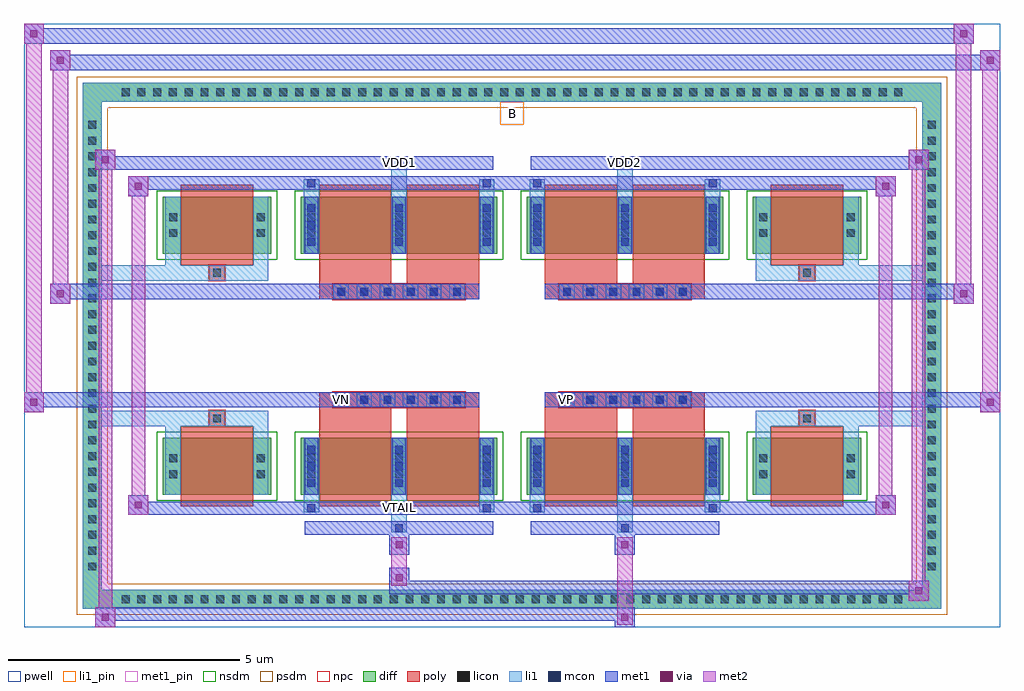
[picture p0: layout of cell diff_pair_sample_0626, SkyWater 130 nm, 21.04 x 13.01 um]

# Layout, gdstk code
import gdstk
lib = gdstk.Library(unit=1e-6, precision=5e-09)
def R(c, l, rs):  # rectangles x0, y0, x1, y1
    for r in rs: c.add(gdstk.rectangle(r[:2], r[2:], *l))
def A(c, l, x, y, w, h, nx, ny, dx, dy):  # array of equal rectangles
    R(c, l, [(x+i*dx, y+j*dy, x+i*dx+w, y+j*dy+h) for i in range(nx) for j in range(ny)])
def P(c, l, *ps):  # polygons
    for p in ps: c.add(gdstk.Polygon(p, *l))
pwell = (64, 44)
diff = (65, 20)
poly = (66, 20)
licon = (66, 44)
li1_pin = (67, 16)
li1 = (67, 20)
mcon = (67, 44)
met1_pin = (68, 16)
met1 = (68, 20)
via = (68, 44)
met2 = (69, 20)
nsdm = (93, 44)
psdm = (94, 20)
npc = (95, 20)

diff_pair_sample_0626 = lib.new_cell('diff_pair_sample_0626')
R(diff_pair_sample_0626, pwell, [(-10.52,-6.07,10.52,6.94), (-7.84,-4.26,-0.01,-0.8), (0.01,-4.26,7.84,-0.8), (-7.84,0.8,-0.01,4.26), (0.01,0.8,7.84,4.26)])
A(diff_pair_sample_0626, diff, -8.535, -5.67, 0.41, 0.41, 50, 2, 0.34, 10.93)
A(diff_pair_sample_0626, diff, -9.25, -4.965, 0.41, 0.41, 1, 29, 0, 0.34)
A(diff_pair_sample_0626, diff, 8.84, -4.965, 0.41, 0.41, 1, 29, 0, 0.34)
R(diff_pair_sample_0626, diff, [(-8.535,-5.67,8.535,-5.26), (-9.25,-4.965,-8.84,4.965), (8.84,-4.965,9.25,4.965), (-7.53,-3.215,-5.19,-1.985), (-4.55,-3.215,-0.32,-1.985), (0.32,-3.215,4.55,-1.985), (5.19,-3.215,7.53,-1.985), (-7.53,1.985,-5.19,3.215), (-4.55,1.985,-0.32,3.215), (0.32,1.985,4.55,3.215), (5.19,1.985,7.53,3.215), (-8.535,5.26,8.535,5.67)])
P(diff_pair_sample_0626, diff, [(9.25,5.67),(-9.25,5.67),(-9.25,-5.26),(-8.84,-5.26),(-8.84,5.26),(8.84,5.26),(8.84,-5.26),(-8.84,-5.26),(-9.25,-5.26),(-9.25,-5.67),(9.25,-5.67)])
A(diff_pair_sample_0626, poly, -3.85, -1.33, 0.33, 0.33, 6, 2, 0.5, 2.33)
A(diff_pair_sample_0626, poly, 1.02, -1.33, 0.33, 0.33, 6, 2, 0.5, 2.33)
R(diff_pair_sample_0626, poly, [(-7.14,-3.465,-5.58,-1.735), (-4.16,-3.465,-2.6,-1.735), (-2.27,-3.465,-0.71,-1.735), (0.71,-3.465,2.27,-1.735), (2.6,-3.465,4.16,-1.735), (5.58,-3.465,7.14,-1.735), (-6.525,-1.735,-6.195,-1.405), (-6.525,-1.735,-6.195,-1.405), (-4.16,-1.735,-2.6,-1.33), (-2.27,-1.735,-0.71,-1.33), (0.71,-1.735,2.27,-1.33), (2.6,-1.735,4.16,-1.33), (6.195,-1.735,6.525,-1.405), (6.195,-1.735,6.525,-1.405), (-4.16,-1.33,-0.71,-1), (0.71,-1.33,4.16,-1), (-4.16,1,-0.71,1.33), (0.71,1,4.16,1.33), (-4.16,1.33,-2.6,1.735), (-2.27,1.33,-0.71,1.735), (0.71,1.33,2.27,1.735), (2.6,1.33,4.16,1.735), (-6.525,1.405,-6.195,1.735), (-6.525,1.405,-6.195,1.735), (6.195,1.405,6.525,1.735), (6.195,1.405,6.525,1.735), (-7.14,1.735,-5.58,3.465), (-4.16,1.735,-2.6,3.465), (-2.27,1.735,-0.71,3.465), (0.71,1.735,2.27,3.465), (2.6,1.735,4.16,3.465), (5.58,1.735,7.14,3.465)])
A(diff_pair_sample_0626, licon, -8.415, -5.55, 0.17, 0.17, 50, 2, 0.34, 10.93)
A(diff_pair_sample_0626, licon, -9.13, -4.845, 0.17, 0.17, 1, 29, 0, 0.34)
A(diff_pair_sample_0626, licon, 8.96, -4.845, 0.17, 0.17, 1, 29, 0, 0.34)
A(diff_pair_sample_0626, licon, -4.41, -2.855, 0.17, 0.17, 3, 2, 1.89, 0.34)
A(diff_pair_sample_0626, licon, 0.46, -2.855, 0.17, 0.17, 3, 2, 1.89, 0.34)
A(diff_pair_sample_0626, licon, -3.77, -1.25, 0.17, 0.17, 6, 2, 0.5, 2.33)
A(diff_pair_sample_0626, licon, 1.1, -1.25, 0.17, 0.17, 6, 2, 0.5, 2.33)
A(diff_pair_sample_0626, licon, -4.41, 2.345, 0.17, 0.17, 3, 2, 1.89, 0.34)
A(diff_pair_sample_0626, licon, 0.46, 2.345, 0.17, 0.17, 3, 2, 1.89, 0.34)
R(diff_pair_sample_0626, licon, [(-7.39,-2.855,-7.22,-2.685), (-5.5,-2.855,-5.33,-2.685), (5.33,-2.855,5.5,-2.685), (7.22,-2.855,7.39,-2.685), (-7.39,-2.515,-7.22,-2.345), (-5.5,-2.515,-5.33,-2.345), (5.33,-2.515,5.5,-2.345), (7.22,-2.515,7.39,-2.345), (-6.445,-1.655,-6.275,-1.485), (6.275,-1.655,6.445,-1.485), (-6.445,1.485,-6.275,1.655), (6.275,1.485,6.445,1.655), (-7.39,2.345,-7.22,2.515), (-5.5,2.345,-5.33,2.515), (5.33,2.345,5.5,2.515), (7.22,2.345,7.39,2.515), (-7.39,2.685,-7.22,2.855), (-5.5,2.685,-5.33,2.855), (5.33,2.685,5.5,2.855), (7.22,2.685,7.39,2.855)])
R(diff_pair_sample_0626, li1_pin, [(-0.25,4.76,0.25,5.26)])
A(diff_pair_sample_0626, li1, -8.495, -5.63, 0.33, 0.33, 50, 2, 0.34, 10.93)
A(diff_pair_sample_0626, li1, -9.21, -4.925, 0.33, 0.33, 1, 29, 0, 0.34)
A(diff_pair_sample_0626, li1, 8.88, -4.925, 0.33, 0.33, 1, 29, 0, 0.34)
A(diff_pair_sample_0626, li1, -4.49, -3.215, 0.33, 1.23, 3, 2, 1.89, 5.2)
A(diff_pair_sample_0626, li1, 0.38, -3.215, 0.33, 1.23, 3, 2, 1.89, 5.2)
A(diff_pair_sample_0626, li1, -4.41, -3.045, 0.17, 0.17, 3, 3, 1.89, 0.36)
A(diff_pair_sample_0626, li1, -4.41, -3.045, 0.17, 0.89, 3, 2, 1.89, 5.2)
A(diff_pair_sample_0626, li1, 0.46, -3.045, 0.17, 0.17, 3, 3, 1.89, 0.36)
A(diff_pair_sample_0626, li1, 0.46, -3.045, 0.17, 0.89, 3, 2, 1.89, 5.2)
A(diff_pair_sample_0626, li1, -4.49, -2.935, 0.33, 0.33, 3, 2, 1.89, 0.34)
A(diff_pair_sample_0626, li1, 0.38, -2.935, 0.33, 0.33, 3, 2, 1.89, 0.34)
A(diff_pair_sample_0626, li1, -3.85, -1.33, 0.33, 0.33, 6, 2, 0.5, 2.33)
A(diff_pair_sample_0626, li1, 1.02, -1.33, 0.33, 0.33, 6, 2, 0.5, 2.33)
A(diff_pair_sample_0626, li1, -4.41, 2.155, 0.17, 0.17, 3, 3, 1.89, 0.36)
A(diff_pair_sample_0626, li1, 0.46, 2.155, 0.17, 0.17, 3, 3, 1.89, 0.36)
A(diff_pair_sample_0626, li1, -4.49, 2.265, 0.33, 0.33, 3, 2, 1.89, 0.34)
A(diff_pair_sample_0626, li1, 0.38, 2.265, 0.33, 0.33, 3, 2, 1.89, 0.34)
R(diff_pair_sample_0626, li1, [(-9.25,-5.67,-8.84,-5.26), (-9.25,-5.67,-8.84,-5.26), (-8.84,-5.67,8.84,-5.26), (8.84,-5.67,9.25,-5.26), (8.84,-5.67,9.25,-5.26), (-9.25,-5.26,-8.84,5.26), (8.84,-5.26,9.25,5.26), (-2.6,-4.02,-2.27,-3.215), (-2.52,-4.02,-2.35,-3.85), (2.27,-4.02,2.6,-3.215), (2.35,-4.02,2.52,-3.85), (-4.49,-3.59,-4.16,-3.215), (-4.41,-3.59,-4.24,-3.42), (-0.71,-3.59,-0.38,-3.215), (-0.63,-3.59,-0.46,-3.42), (0.38,-3.59,0.71,-3.215), (0.46,-3.59,0.63,-3.42), (4.16,-3.59,4.49,-3.215), (4.24,-3.59,4.41,-3.42), (-7.47,-3.215,-7.14,-1.985), (-5.58,-3.215,-5.25,-1.985), (5.25,-3.215,5.58,-1.985), (7.14,-3.215,7.47,-1.985), (-7.47,-2.935,-7.14,-2.605), (-5.58,-2.935,-5.25,-2.605), (5.25,-2.935,5.58,-2.605), (7.14,-2.935,7.47,-2.605), (-7.47,-2.595,-7.14,-2.265), (-5.58,-2.595,-5.25,-2.265), (5.25,-2.595,5.58,-2.265), (7.14,-2.595,7.47,-2.265), (-7.47,-1.985,-7.14,-1.405), (-5.58,-1.985,-5.25,-1.405), (5.25,-1.985,5.58,-1.405), (7.14,-1.985,7.47,-1.405), (-9.25,-1.735,-6.525,-1.405), (-7.47,-1.735,-6.525,-1.405), (-6.525,-1.735,-6.195,-1.405), (-6.195,-1.735,-5.25,-1.405), (5.25,-1.735,6.195,-1.405), (6.195,-1.735,6.525,-1.405), (6.195,-1.735,9.25,-1.405), (6.525,-1.735,7.47,-1.405), (-9.25,1.405,-6.525,1.735), (-7.47,1.405,-6.525,1.735), (-7.47,1.405,-7.14,1.985), (-6.525,1.405,-6.195,1.735), (-6.195,1.405,-5.25,1.735), (-5.58,1.405,-5.25,1.985), (5.25,1.405,6.195,1.735), (5.25,1.405,5.58,1.985), (6.195,1.405,6.525,1.735), (6.195,1.405,9.25,1.735), (6.525,1.405,7.47,1.735), (7.14,1.405,7.47,1.985), (-7.47,1.985,-7.14,3.215), (-5.58,1.985,-5.25,3.215), (5.25,1.985,5.58,3.215), (7.14,1.985,7.47,3.215), (-7.47,2.265,-7.14,2.595), (-5.58,2.265,-5.25,2.595), (5.25,2.265,5.58,2.595), (7.14,2.265,7.47,2.595), (-7.47,2.605,-7.14,2.935), (-5.58,2.605,-5.25,2.935), (5.25,2.605,5.58,2.935), (7.14,2.605,7.47,2.935), (-4.49,3.215,-4.16,3.59), (-2.6,3.215,-2.27,4.02), (-0.71,3.215,-0.38,3.59), (0.38,3.215,0.71,3.59), (2.27,3.215,2.6,4.02), (4.16,3.215,4.49,3.59), (-4.41,3.42,-4.24,3.59), (-0.63,3.42,-0.46,3.59), (0.46,3.42,0.63,3.59), (4.24,3.42,4.41,3.59), (-2.52,3.85,-2.35,4.02), (2.35,3.85,2.52,4.02), (-9.25,5.26,-8.84,5.67), (-9.25,5.26,-8.84,5.67), (-8.84,5.26,8.84,5.67), (8.84,5.26,9.25,5.67), (8.84,5.26,9.25,5.67)])
A(diff_pair_sample_0626, mcon, -4.41, -3.045, 0.17, 0.17, 3, 3, 1.89, 0.36)
A(diff_pair_sample_0626, mcon, 0.46, -3.045, 0.17, 0.17, 3, 3, 1.89, 0.36)
A(diff_pair_sample_0626, mcon, -3.77, -1.25, 0.17, 0.17, 6, 2, 0.5, 2.33)
A(diff_pair_sample_0626, mcon, 1.1, -1.25, 0.17, 0.17, 6, 2, 0.5, 2.33)
A(diff_pair_sample_0626, mcon, -4.41, 2.155, 0.17, 0.17, 3, 3, 1.89, 0.36)
A(diff_pair_sample_0626, mcon, 0.46, 2.155, 0.17, 0.17, 3, 3, 1.89, 0.36)
R(diff_pair_sample_0626, mcon, [(-2.52,-4.02,-2.35,-3.85), (2.35,-4.02,2.52,-3.85), (-4.41,-3.59,-4.24,-3.42), (-0.63,-3.59,-0.46,-3.42), (0.46,-3.59,0.63,-3.42), (4.24,-3.59,4.41,-3.42), (-4.41,3.42,-4.24,3.59), (-0.63,3.42,-0.46,3.59), (0.46,3.42,0.63,3.59), (4.24,3.42,4.41,3.59), (-2.52,3.85,-2.35,4.02), (2.35,3.85,2.52,4.02)])
R(diff_pair_sample_0626, met1_pin, [(-2.57,-3.63,-2.3,-3.36), (-3.82,-1.29,-3.55,-1.02), (1.05,-1.29,1.32,-1.02), (-2.57,3.81,-2.3,4.08), (2.3,3.81,2.57,4.08)])
A(diff_pair_sample_0626, met1, -4.47, -3.215, 0.29, 1.23, 3, 2, 1.89, 5.2)
A(diff_pair_sample_0626, met1, 0.4, -3.215, 0.29, 1.23, 3, 2, 1.89, 5.2)
A(diff_pair_sample_0626, met1, -4.47, -3.105, 0.29, 0.29, 3, 3, 1.89, 0.36)
A(diff_pair_sample_0626, met1, 0.4, -3.105, 0.29, 0.29, 3, 3, 1.89, 0.36)
A(diff_pair_sample_0626, met1, -3.83, -1.31, 0.29, 0.29, 6, 2, 0.5, 2.33)
A(diff_pair_sample_0626, met1, 1.04, -1.31, 0.29, 0.29, 6, 2, 0.5, 2.33)
A(diff_pair_sample_0626, met1, -4.47, 2.095, 0.29, 0.29, 3, 3, 1.89, 0.36)
A(diff_pair_sample_0626, met1, 0.4, 2.095, 0.29, 0.29, 3, 3, 1.89, 0.36)
R(diff_pair_sample_0626, met1, [(-8.98,-6.07,-8.55,-5.64), (2.22,-6.07,2.65,-5.64), (-8.98,-5.93,2.65,-5.64), (8.55,-5.5,8.98,-5.07), (-2.65,-5.36,8.98,-5.07), (-2.65,-5.22,-2.22,-4.79), (-2.65,-4.51,-2.22,-4.08), (2.22,-4.51,2.65,-4.08), (-4.47,-4.08,-0.4,-3.79), (-2.58,-4.08,-2.29,-3.79), (0.4,-4.08,4.47,-3.79), (2.29,-4.08,2.58,-3.79), (-8.27,-3.65,-7.84,-3.22), (-8.27,-3.65,-4.47,-3.36), (-4.47,-3.65,-4.18,-3.36), (-4.47,-3.65,-0.4,-3.36), (-0.69,-3.65,-0.4,-3.36), (-0.4,-3.65,0.4,-3.36), (0.4,-3.65,0.69,-3.36), (0.4,-3.65,4.47,-3.36), (4.18,-3.65,4.47,-3.36), (4.47,-3.65,8.27,-3.36), (7.84,-3.65,8.27,-3.22), (-10.52,-1.43,-10.09,-1), (10.09,-1.43,10.52,-1), (-10.52,-1.33,-0.71,-1), (-4.16,-1.33,-0.71,-1), (0.71,-1.33,4.16,-1), (0.71,-1.33,10.52,-1), (-9.95,0.9,-9.52,1.33), (9.52,0.9,9.95,1.33), (-9.95,1,-4.16,1.33), (-4.16,1,-0.71,1.33), (0.71,1,4.16,1.33), (4.16,1,9.95,1.33), (-8.27,3.22,-7.84,3.65), (7.84,3.22,8.27,3.65), (-8.27,3.36,-4.47,3.65), (-4.47,3.36,-4.18,3.65), (-4.47,3.36,-0.4,3.65), (-0.69,3.36,-0.4,3.65), (-0.4,3.36,0.4,3.65), (0.4,3.36,0.69,3.65), (0.4,3.36,4.47,3.65), (4.18,3.36,4.47,3.65), (4.47,3.36,8.27,3.65), (-8.98,3.79,-8.55,4.22), (-8.98,3.79,-4.47,4.08), (-4.47,3.79,-0.4,4.08), (-2.58,3.79,-2.29,4.08), (0.4,3.79,4.47,4.08), (2.29,3.79,2.58,4.08), (4.47,3.79,8.98,4.08), (8.55,3.79,8.98,4.22), (-9.95,5.94,-9.52,6.37), (-9.95,5.94,-7.84,6.27), (-7.84,5.94,7.84,6.27), (7.84,5.94,10.52,6.27), (10.09,5.94,10.52,6.37), (-10.52,6.51,-10.09,6.94), (-10.52,6.51,-7.84,6.84), (-7.84,6.51,7.84,6.84), (7.84,6.51,9.95,6.84), (9.52,6.51,9.95,6.94)])
R(diff_pair_sample_0626, via, [(-8.84,-5.93,-8.69,-5.78), (2.36,-5.93,2.51,-5.78), (8.69,-5.36,8.84,-5.21), (-2.51,-5.08,-2.36,-4.93), (-2.51,-4.37,-2.36,-4.22), (2.36,-4.37,2.51,-4.22), (-8.13,-3.51,-7.98,-3.36), (7.98,-3.51,8.13,-3.36), (-10.38,-1.29,-10.23,-1.14), (10.23,-1.29,10.38,-1.14), (-9.81,1.04,-9.66,1.19), (9.66,1.04,9.81,1.19), (-8.13,3.36,-7.98,3.51), (7.98,3.36,8.13,3.51), (-8.84,3.93,-8.69,4.08), (8.69,3.93,8.84,4.08), (-9.81,6.08,-9.66,6.23), (10.23,6.08,10.38,6.23), (-10.38,6.65,-10.23,6.8), (9.66,6.65,9.81,6.8)])
R(diff_pair_sample_0626, met2, [(-8.98,-6.07,-8.55,-5.64), (-8.91,-6.07,-8.62,4.22), (-8.62,-6.07,-8.55,-5.64), (-8.93,-6.02,-8.6,-5.69), (2.27,-6.02,2.6,-5.69), (2.27,-5.69,2.6,-4.46), (8.55,-5.5,8.98,-5.07), (8.62,-5.5,8.91,4.22), (8.91,-5.5,8.98,-5.07), (8.6,-5.45,8.93,-5.12), (-2.6,-5.17,-2.27,-4.84), (-2.6,-4.84,-2.27,-4.46), (-2.6,-4.46,-2.27,-4.13), (2.27,-4.46,2.6,-4.13), (-8.27,-3.65,-7.84,-3.22), (-8.2,-3.65,-7.91,3.65), (-7.91,-3.65,-7.84,-3.22), (7.84,-3.65,8.27,-3.22), (7.91,-3.65,8.2,3.65), (8.2,-3.65,8.27,-3.22), (-8.22,-3.6,-7.89,-3.27), (7.89,-3.6,8.22,-3.27), (-10.52,-1.43,-10.09,-1), (-10.47,-1.43,-10.14,6.94), (-10.14,-1.43,-10.09,-1), (10.09,-1.43,10.52,-1), (10.14,-1.43,10.47,6.37), (10.47,-1.43,10.52,-1), (-10.47,-1.38,-10.14,-1.05), (10.14,-1.38,10.47,-1.05), (-9.95,0.9,-9.52,1.33), (-9.9,0.9,-9.57,6.37), (-9.57,0.9,-9.52,1.33), (9.52,0.9,9.95,1.33), (9.57,0.9,9.9,6.94), (9.9,0.9,9.95,1.33), (-9.9,0.95,-9.57,1.28), (9.57,0.95,9.9,1.28), (-8.27,3.22,-7.84,3.65), (-7.91,3.22,-7.84,3.65), (7.84,3.22,8.27,3.65), (8.2,3.22,8.27,3.65), (-8.22,3.27,-7.89,3.6), (7.89,3.27,8.22,3.6), (-8.98,3.79,-8.55,4.22), (-8.62,3.79,-8.55,4.22), (8.55,3.79,8.98,4.22), (8.91,3.79,8.98,4.22), (-8.93,3.84,-8.6,4.17), (8.6,3.84,8.93,4.17), (-9.95,5.94,-9.52,6.37), (-9.57,5.94,-9.52,6.37), (10.09,5.94,10.52,6.37), (10.47,5.94,10.52,6.37), (-9.9,5.99,-9.57,6.32), (10.14,5.99,10.47,6.32), (-10.52,6.51,-10.09,6.94), (-10.14,6.51,-10.09,6.94), (9.52,6.51,9.95,6.94), (9.9,6.51,9.95,6.94), (-10.47,6.56,-10.14,6.89), (9.57,6.56,9.9,6.89)])
R(diff_pair_sample_0626, nsdm, [(-7.66,-3.345,-5.06,-1.855), (-4.68,-3.345,-0.19,-1.855), (0.19,-3.345,4.68,-1.855), (5.06,-3.345,7.66,-1.855), (-7.66,1.855,-5.06,3.345), (-4.68,1.855,-0.19,3.345), (0.19,1.855,4.68,3.345), (5.06,1.855,7.66,3.345)])
P(diff_pair_sample_0626, psdm, [(9.38,5.8),(-9.38,5.8),(-9.38,-5.13),(-8.71,-5.13),(-8.71,5.13),(8.71,5.13),(8.71,-5.13),(-8.71,-5.13),(-9.38,-5.13),(-9.38,-5.8),(9.38,-5.8)])
A(diff_pair_sample_0626, npc, -3.87, -1.35, 0.37, 0.37, 6, 2, 0.5, 2.33)
A(diff_pair_sample_0626, npc, 1, -1.35, 0.37, 0.37, 6, 2, 0.5, 2.33)
R(diff_pair_sample_0626, npc, [(-6.545,-1.755,-6.175,-1.385), (6.175,-1.755,6.545,-1.385), (-3.87,-1.35,-3,-0.98), (-3.87,-1.35,-3,-0.98), (-3.37,-1.35,-2.5,-0.98), (-3.37,-1.35,-2.5,-0.98), (-2.87,-1.35,-2,-0.98), (-2.87,-1.35,-2,-0.98), (-2.37,-1.35,-1.5,-0.98), (-2.37,-1.35,-1.5,-0.98), (-1.87,-1.35,-1,-0.98), (-1.87,-1.35,-1,-0.98), (1,-1.35,1.87,-0.98), (1,-1.35,1.87,-0.98), (1.5,-1.35,2.37,-0.98), (1.5,-1.35,2.37,-0.98), (2,-1.35,2.87,-0.98), (2,-1.35,2.87,-0.98), (2.5,-1.35,3.37,-0.98), (2.5,-1.35,3.37,-0.98), (3,-1.35,3.87,-0.98), (3,-1.35,3.87,-0.98), (-3.87,0.98,-3,1.35), (-3.87,0.98,-3,1.35), (-3.37,0.98,-2.5,1.35), (-3.37,0.98,-2.5,1.35), (-2.87,0.98,-2,1.35), (-2.87,0.98,-2,1.35), (-2.37,0.98,-1.5,1.35), (-2.37,0.98,-1.5,1.35), (-1.87,0.98,-1,1.35), (-1.87,0.98,-1,1.35), (1,0.98,1.87,1.35), (1,0.98,1.87,1.35), (1.5,0.98,2.37,1.35), (1.5,0.98,2.37,1.35), (2,0.98,2.87,1.35), (2,0.98,2.87,1.35), (2.5,0.98,3.37,1.35), (2.5,0.98,3.37,1.35), (3,0.98,3.87,1.35), (3,0.98,3.87,1.35), (-6.545,1.385,-6.175,1.755), (6.175,1.385,6.545,1.755)])
diff_pair_sample_0626.add(gdstk.Label('VTAIL', (-2.435,-3.495), layer=68, texttype=5))
diff_pair_sample_0626.add(gdstk.Label('VN', (-3.685,-1.155), layer=68, texttype=5))
diff_pair_sample_0626.add(gdstk.Label('VP', (1.185,-1.155), layer=68, texttype=5))
diff_pair_sample_0626.add(gdstk.Label('B', (0,5.01), layer=67, texttype=5))
diff_pair_sample_0626.add(gdstk.Label('VDD2', (2.435,3.945), layer=68, texttype=5))
diff_pair_sample_0626.add(gdstk.Label('VDD1', (-2.435,3.945), layer=68, texttype=5))

lib.write_gds('diff_pair_sample_0626.gds')
